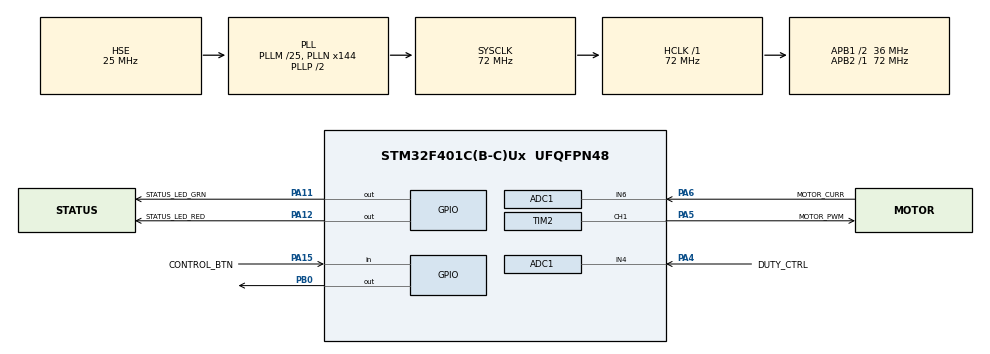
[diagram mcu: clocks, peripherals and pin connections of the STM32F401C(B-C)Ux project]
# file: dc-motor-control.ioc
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ADC1.Channel-0\#ChannelRegularConversion=ADC_CHANNEL_4
ADC1.NbrOfConversionFlag=1
ADC1.Rank-0\#ChannelRegularConversion=1
ADC1.SamplingTime-0\#ChannelRegularConversion=ADC_SAMPLETIME_3CYCLES
ADC1.master=1
Mcu.Family=STM32F4
Mcu.Name=STM32F401C(B-C)Ux
Mcu.Package=UFQFPN48
NVIC.PriorityGroup=NVIC_PRIORITYGROUP_4
PA11.GPIO_Label=STATUS_LED_GRN
PA11.Signal=GPIO_Output
PA12.GPIO_Label=STATUS_LED_RED
PA12.Signal=GPIO_Output
PA13.Mode=Serial_Wire
PA13.Signal=SYS_JTMS-SWDIO
PA14.Mode=Serial_Wire
PA14.Signal=SYS_JTCK-SWCLK
PA15.GPIO_Label=CONTROL_BTN
PA15.Signal=GPIO_Input
PA4.GPIO_Label=DUTY_CTRL
PA4.Signal=ADCx_IN4
PA5.GPIO_Label=MOTOR_PWM
PA5.Signal=S_TIM2_CH1_ETR
PA6.GPIO_Label=MOTOR_CURR
PA6.Signal=ADCx_IN6
PB0.Signal=GPIO_Output
PH0\ -\ OSC_IN.Mode=HSE-External-Oscillator
PH0\ -\ OSC_IN.Signal=RCC_OSC_IN
PH1\ -\ OSC_OUT.Mode=HSE-External-Oscillator
PH1\ -\ OSC_OUT.Signal=RCC_OSC_OUT
ProjectManager.HeapSize=0x200
ProjectManager.StackSize=0x400
ProjectManager.TargetToolchain=STM32CubeIDE
RCC.48MHZClocksFreq_Value=36000000
RCC.AHBFreq_Value=72000000
RCC.APB1CLKDivider=RCC_HCLK_DIV2
RCC.APB1Freq_Value=36000000
RCC.APB1TimFreq_Value=72000000
RCC.APB2Freq_Value=72000000
RCC.APB2TimFreq_Value=72000000
RCC.CortexFreq_Value=72000000
RCC.HCLKFreq_Value=72000000
RCC.HSE_VALUE=25000000
RCC.HSI_VALUE=16000000
RCC.LSE_VALUE=32768
RCC.PLLM=25
RCC.PLLN=144
RCC.PLLSourceVirtual=RCC_PLLSOURCE_HSE
RCC.SYSCLKFreq_VALUE=72000000
RCC.SYSCLKSource=RCC_SYSCLKSOURCE_PLLCLK
RCC.VCOOutputFreq_Value=144000000
SH.ADCx_IN4.0=ADC1_IN4,IN4
SH.ADCx_IN6.0=ADC1_IN6,IN6
SH.S_TIM2_CH1_ETR.0=TIM2_CH1,PWM Generation1 CH1
TIM2.AutoReloadPreload=TIM_AUTORELOAD_PRELOAD_ENABLE
TIM2.Channel-PWM\ Generation1\ CH1=TIM_CHANNEL_1
TIM2.Period=65535
VP_TIM2_VS_ClockSourceINT.Mode=Internal
board=custom

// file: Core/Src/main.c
/* USER CODE BEGIN Header */
/**
  ******************************************************************************
  * @file           : main.c
  * @brief          : Main program body
  ******************************************************************************
  * @attention
  *
  * Copyright (c) 2025 STMicroelectronics.
  * All rights reserved.
  *
  * This software is licensed under terms that can be found in the LICENSE file
  * in the root directory of this software component.
  * If no LICENSE file comes with this software, it is provided AS-IS.
  *
  ******************************************************************************
  */
/* USER CODE END Header */
#include "main.h"

/* USER CODE BEGIN PD */
#define CURRENT_THRESHOLD 10 // above this value, there is an overcurrent

/* USER CODE END PD */

ADC_HandleTypeDef hadc1;

TIM_HandleTypeDef htim2;

/* USER CODE BEGIN PV */
uint8_t press_count = 0; // assuming a push button
uint8_t is_pressed = 0;
uint8_t fault_detected = 0; // set to 1 to indicate over-current fault

/* USER CODE END PV */

void SystemClock_Config(void);
static void MX_GPIO_Init(void);
static void MX_ADC1_Init(void);
static void MX_TIM2_Init(void);
/* USER CODE BEGIN PFP */

int startButtonPressed();
void LEDControl();

/* USER CODE END PFP */

/* USER CODE BEGIN 0 */

/**
 * Check the START/STOP button
 * No de-bounce is implemented
 */
int startButtonPressed() {
	if(HAL_GPIO_ReadPin(CONTROL_BTN_GPIO_Port, CONTROL_BTN_Pin) == GPIO_PIN_RESET){
		return 1;
	} else {
		return 0;
	}
}

/*
 * Handles the status LEDs
 */
void LEDControl() {
	if(fault_detected) {
		HAL_GPIO_WritePin(GPIOA, STATUS_LED_GRN_Pin, GPIO_PIN_RESET);
		HAL_GPIO_WritePin(GPIOA, STATUS_LED_RED_Pin, GPIO_PIN_SET);
	} else {
		HAL_GPIO_WritePin(GPIOA, STATUS_LED_GRN_Pin, GPIO_PIN_SET);
		HAL_GPIO_WritePin(GPIOA, STATUS_LED_RED_Pin, GPIO_PIN_RESET);
	}
}

/* USER CODE END 0 */

int main(void)
{

  /* USER CODE BEGIN 1 */

	uint16_t AD_POT_RES = 0; // to hold the result
	uint16_t ADC_CURRENT = 0; // to hold MOTOR current
	uint8_t CONVERTED_CURRENT = 0; // converted current

  /* USER CODE END 1 */

  /* MCU Configuration--------------------------------------------------------*/

  /* Reset of all peripherals, Initializes the Flash interface and the Systick. */
  HAL_Init();

  /* Configure the system clock */
  SystemClock_Config();

  /* Initialize all configured peripherals */
  MX_GPIO_Init();
  MX_ADC1_Init();
  MX_TIM2_Init();
  /* USER CODE BEGIN 2 */

  // calibrate at startup
  HAL_ADCEx_Calibration_Start(&hadc1);

  /* USER CODE END 2 */

  /* Infinite loop */
  /* USER CODE BEGIN WHILE */

  ADC_CH_Cfg.Rank = ADC_REGULAR_RANK_1;
  ADC_CH_Cfg.samplingTime = ADC_SAMPLETIME_1CYCLE_5;

  while (1)
  {
    /* USER CODE END WHILE */

    /* USER CODE BEGIN 3 */

	  // check if start button pressed
	  if(startButtonPressed()) {
		  press_count++;
	  }

	  // check number of presses
	  if(press_count == 1) {
		  // first press, start the motor
		  // start the PWM channel 1 timer 2 - output to motor speed control
		  HAL_TIM_PWM_Start(&htim2, TIM_CHANNEL_1);
	  } else if(press_count == 2) {
		  HAL_TIM_PWM_Stop(&htim2, TIM_CHANNEL_1);
		  press_count = 0;
	  }

	  // configure first channel - potentiometer
	  ADC_CH_Cfg.Channel = ADC_CHANNEL_4;
	  HAL_ADC_ConfigChannel(&hadc1, &ADC_CH_Cfg);
	  // start conversion
	  HAL_ADC_Start(&hadc1);

	  // poll for converted result
	  // with a timeout of 1 second
	  HAL_ADC_PollForConversion(&hadc1, 1);

	  // read ADC
	  AD_POT_RES = HAL_ADC_GetValue(&hadc1);

	  // this part here controls the motor PWM signal,
	  // varying the signal based on the Potentiometer value
	  TIM2->CCR1 = (AD_POT_RES << 4);
	  HAL_Delay(1);

	  //===== over-current protection ===============
	  // configure second channel - ACS current meter
	  ADC_CH_Cfg.Channel = ADC_CHANNEL_6;
	  HAL_ADC_ConfigChannel(&hadc1, &ADC_CH_Cfg);
	  // read the ADC value from the current pin
	  HAL_ADC_PollForConversion(&hadc1, 1);
	  ADC_CURRENT = HAL_ADC_GetValue(&hadc1);_

	  // convert to real current value
	  // assuming ADC midpoint is 1.65V
	  CONVERTED_CURRENT = (1.65 - (ADC_CURRENT * 3.3/4095)) * 0.185;

	  // check against the threshold
	  if(CONVERTED_CURRENT > CURRENT_THRESHOLD) {
		  // fault, turn off the motor
		  // set PWM to 0% duty cycle
		  TIM2->CCR1 = 0;
		  fault_detected= 1;
	  } else {
		  fault_detected = 0; // reset flag
	  }

	  // control status LED based on fault flag
	  LEDControl();

  }
  /* USER CODE END 3 */
}

void SystemClock_Config(void)
{
  RCC_OscInitTypeDef RCC_OscInitStruct = {0};
  RCC_ClkInitTypeDef RCC_ClkInitStruct = {0};

  /** Configure the main internal regulator output voltage
  */
  __HAL_RCC_PWR_CLK_ENABLE();
  __HAL_PWR_VOLTAGESCALING_CONFIG(PWR_REGULATOR_VOLTAGE_SCALE2);

  /** Initializes the RCC Oscillators according to the specified parameters
  * in the RCC_OscInitTypeDef structure.
  */
  RCC_OscInitStruct.OscillatorType = RCC_OSCILLATORTYPE_HSE;
  RCC_OscInitStruct.HSEState = RCC_HSE_ON;
  RCC_OscInitStruct.PLL.PLLState = RCC_PLL_ON;
  RCC_OscInitStruct.PLL.PLLSource = RCC_PLLSOURCE_HSE;
  RCC_OscInitStruct.PLL.PLLM = 25;
  RCC_OscInitStruct.PLL.PLLN = 144;
  RCC_OscInitStruct.PLL.PLLP = RCC_PLLP_DIV2;
  RCC_OscInitStruct.PLL.PLLQ = 4;
  if (HAL_RCC_OscConfig(&RCC_OscInitStruct) != HAL_OK)
  {
    Error_Handler();
  }

  /** Initializes the CPU, AHB and APB buses clocks
  */
  RCC_ClkInitStruct.ClockType = RCC_CLOCKTYPE_HCLK|RCC_CLOCKTYPE_SYSCLK
                              |RCC_CLOCKTYPE_PCLK1|RCC_CLOCKTYPE_PCLK2;
  RCC_ClkInitStruct.SYSCLKSource = RCC_SYSCLKSOURCE_PLLCLK;
  RCC_ClkInitStruct.AHBCLKDivider = RCC_SYSCLK_DIV1;
  RCC_ClkInitStruct.APB1CLKDivider = RCC_HCLK_DIV2;
  RCC_ClkInitStruct.APB2CLKDivider = RCC_HCLK_DIV1;

  if (HAL_RCC_ClockConfig(&RCC_ClkInitStruct, FLASH_LATENCY_2) != HAL_OK)
  {
    Error_Handler();
  }
}

static void MX_ADC1_Init(void)
{

  ADC_ChannelConfTypeDef sConfig = {0};

  /** Configure the global features of the ADC (Clock, Resolution, Data Alignment and number of conversion)
  */
  hadc1.Instance = ADC1;
  hadc1.Init.ClockPrescaler = ADC_CLOCK_SYNC_PCLK_DIV2;
  hadc1.Init.Resolution = ADC_RESOLUTION_12B;
  hadc1.Init.ScanConvMode = DISABLE;
  hadc1.Init.ContinuousConvMode = DISABLE;
  hadc1.Init.DiscontinuousConvMode = DISABLE;
  hadc1.Init.ExternalTrigConvEdge = ADC_EXTERNALTRIGCONVEDGE_NONE;
  hadc1.Init.ExternalTrigConv = ADC_SOFTWARE_START;
  hadc1.Init.DataAlign = ADC_DATAALIGN_RIGHT;
  hadc1.Init.NbrOfConversion = 1;
  hadc1.Init.DMAContinuousRequests = DISABLE;
  hadc1.Init.EOCSelection = ADC_EOC_SINGLE_CONV;
  if (HAL_ADC_Init(&hadc1) != HAL_OK)
  {
    Error_Handler();
  }

  /** Configure for the selected ADC regular channel its corresponding rank in the sequencer and its sample time.
  */
  sConfig.Channel = ADC_CHANNEL_4;
  sConfig.Rank = 1;
  sConfig.SamplingTime = ADC_SAMPLETIME_3CYCLES;
  if (HAL_ADC_ConfigChannel(&hadc1, &sConfig) != HAL_OK)
  {
    Error_Handler();
  }

}

static void MX_TIM2_Init(void)
{

  TIM_ClockConfigTypeDef sClockSourceConfig = {0};
  TIM_MasterConfigTypeDef sMasterConfig = {0};
  TIM_OC_InitTypeDef sConfigOC = {0};

  htim2.Instance = TIM2;
  htim2.Init.Prescaler = 0;
  htim2.Init.CounterMode = TIM_COUNTERMODE_UP;
  htim2.Init.Period = 65535;
  htim2.Init.ClockDivision = TIM_CLOCKDIVISION_DIV1;
  htim2.Init.AutoReloadPreload = TIM_AUTORELOAD_PRELOAD_ENABLE;
  if (HAL_TIM_Base_Init(&htim2) != HAL_OK)
  {
    Error_Handler();
  }
  sClockSourceConfig.ClockSource = TIM_CLOCKSOURCE_INTERNAL;
  if (HAL_TIM_ConfigClockSource(&htim2, &sClockSourceConfig) != HAL_OK)
  {
    Error_Handler();
  }
  if (HAL_TIM_PWM_Init(&htim2) != HAL_OK)
  {
    Error_Handler();
  }
  sMasterConfig.MasterOutputTrigger = TIM_TRGO_RESET;
  sMasterConfig.MasterSlaveMode = TIM_MASTERSLAVEMODE_DISABLE;
  if (HAL_TIMEx_MasterConfigSynchronization(&htim2, &sMasterConfig) != HAL_OK)
  {
    Error_Handler();
  }
  sConfigOC.OCMode = TIM_OCMODE_PWM1;
  sConfigOC.Pulse = 0;
  sConfigOC.OCPolarity = TIM_OCPOLARITY_HIGH;
  sConfigOC.OCFastMode = TIM_OCFAST_DISABLE;
  if (HAL_TIM_PWM_ConfigChannel(&htim2, &sConfigOC, TIM_CHANNEL_1) != HAL_OK)
  {
    Error_Handler();
  }
  HAL_TIM_MspPostInit(&htim2);

}

static void MX_GPIO_Init(void)
{
  GPIO_InitTypeDef GPIO_InitStruct = {0};

  /* GPIO Ports Clock Enable */
  __HAL_RCC_GPIOH_CLK_ENABLE();
  __HAL_RCC_GPIOA_CLK_ENABLE();
  __HAL_RCC_GPIOB_CLK_ENABLE();

  /*Configure GPIO pin Output Level */
  HAL_GPIO_WritePin(GPIOB, GPIO_PIN_0, GPIO_PIN_RESET);

  /*Configure GPIO pin Output Level */
  HAL_GPIO_WritePin(GPIOA, STATUS_LED_GRN_Pin|STATUS_LED_RED_Pin, GPIO_PIN_RESET);

  /*Configure GPIO pin : PB0 */
  GPIO_InitStruct.Pin = GPIO_PIN_0;
  GPIO_InitStruct.Mode = GPIO_MODE_OUTPUT_PP;
  GPIO_InitStruct.Pull = GPIO_NOPULL;
  GPIO_InitStruct.Speed = GPIO_SPEED_FREQ_LOW;
  HAL_GPIO_Init(GPIOB, &GPIO_InitStruct);

  /*Configure GPIO pins : STATUS_LED_GRN_Pin STATUS_LED_RED_Pin */
  GPIO_InitStruct.Pin = STATUS_LED_GRN_Pin|STATUS_LED_RED_Pin;
  GPIO_InitStruct.Mode = GPIO_MODE_OUTPUT_PP;
  GPIO_InitStruct.Pull = GPIO_NOPULL;
  GPIO_InitStruct.Speed = GPIO_SPEED_FREQ_LOW;
  HAL_GPIO_Init(GPIOA, &GPIO_InitStruct);

  /*Configure GPIO pin : CONTROL_BTN_Pin */
  GPIO_InitStruct.Pin = CONTROL_BTN_Pin;
  GPIO_InitStruct.Mode = GPIO_MODE_INPUT;
  GPIO_InitStruct.Pull = GPIO_NOPULL;
  HAL_GPIO_Init(CONTROL_BTN_GPIO_Port, &GPIO_InitStruct);

}

void Error_Handler(void)
{
  __disable_irq();
  while (1)
  {
  }
}
